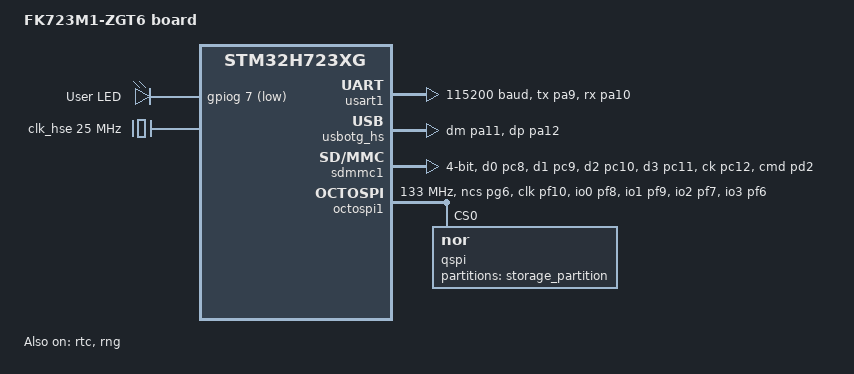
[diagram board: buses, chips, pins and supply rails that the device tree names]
/*
 * Copyright (c) 2020 Alexander Kozhinov <ak.alexander.kozhinov@gmail.com>
 * Copyright (c) 2024 zack jiang <1125934312@qq.com>
 * Copyright (c) 2025 Paul Wedeck <paulwedeck@gmail.com>
 * SPDX-License-Identifier: Apache-2.0
 */

/dts-v1/;
#include <st/h7/stm32h723Xg.dtsi>
#include <st/h7/stm32h723zgtx-pinctrl.dtsi>

/ {
	model = "FK723M1-ZGT6 board";
	compatible = "fanke,fk723m1-zgt6";

	chosen {
		zephyr,console = &usart1;
		zephyr,shell-uart = &usart1;
		zephyr,dtcm = &dtcm;
		zephyr,sram = &sram0;
		zephyr,flash = &flash0;
		zephyr,canbus = &fdcan1;
	};

	leds: leds {
		compatible = "gpio-leds";

		blue_led: led_0 {
			gpios = <&gpiog 7 GPIO_ACTIVE_LOW>;
			label = "User LED";
		};
	};

	aliases {
		led0 = &blue_led;
		sdhc0 = &sdmmc1;
		ext-nor0 = &qspi;
	};
};

&clk_lsi {
	status = "okay";
};

&clk_hsi {
	status = "okay";
};

&clk_hsi48 {
	status = "okay";
};

&clk_hse {
	clock-frequency = <DT_FREQ_M(25)>;
	status = "okay";
};

&clk_lse {
	status = "okay";
};

&pll {
	div-m = <2>;
	mul-n = <44>;
	div-p = <1>;
	div-q = <22>;
	div-r = <2>;
	clocks = <&clk_hse>;
	status = "okay";
};

&pll2 {
	div-m = <2>;
	mul-n = <32>;
	div-p = <5>;
	div-q = <5>;
	div-r = <5>;
	clocks = <&clk_hse>;
	status = "okay";
};

&rcc {
	clocks = <&pll>;
	clock-frequency = <DT_FREQ_M(550)>;
	d1cpre = <1>;
	hpre = <2>;    /* HCLK: 275   MHz */
	d1ppre = <2>;  /* APB1: 137.5 MHz */
	d2ppre1 = <2>; /* APB2: 137.5 MHz */
	d2ppre2 = <2>; /* APB3: 137.5 MHz */
	d3ppre = <2>;  /* APB4: 137.5 MHz */
};

&pwr {
	power-supply = "ldo";
};

&usart1 {
	pinctrl-0 = <&usart1_tx_pa9 &usart1_rx_pa10>;
	pinctrl-names = "default";
	current-speed = <115200>;
	status = "okay";
};

&rtc {
	clocks = <&rcc STM32_CLOCK_BUS_APB4 0x00010000>,
		 <&rcc STM32_SRC_LSI RTC_SEL(2)>;
	status = "okay";
};

&backup_sram {
	status = "okay";
};

zephyr_udc0: &usbotg_hs {
	pinctrl-0 = <&usb_otg_hs_dm_pa11 &usb_otg_hs_dp_pa12>;
	pinctrl-names = "default";
	status = "okay";
};

&rng {
	status = "okay";
};

&sdmmc1 {
	pinctrl-0 = <&sdmmc1_d0_pc8 &sdmmc1_d1_pc9 &sdmmc1_d2_pc10
		     &sdmmc1_d3_pc11 &sdmmc1_ck_pc12 &sdmmc1_cmd_pd2>;
	pinctrl-names = "default";
	clocks = <&rcc STM32_CLOCK(AHB3, 16)>,
		 <&rcc STM32_SRC_PLL1_Q SDMMC_SEL(0)>;
	disk-name = "SD";
	status = "okay";
	bus-width = <4>;
};

&octospi1 {
	compatible = "st,stm32-ospi-controller";
	clock-frequency = <DT_FREQ_M(133)>;
	op-mode = "MSPI_OP_MODE_CONTROLLER";
	pinctrl-0 = <&octospim_p1_ncs_pg6 &octospim_p1_clk_pf10
		     &octospim_p1_io0_pf8 &octospim_p1_io1_pf9
		     &octospim_p1_io2_pf7 &octospim_p1_io3_pf6>;
	pinctrl-names = "default";
	status = "okay";

	/* Winbond external flash */
	qspi: qspi-nor-flash@0 {
		compatible = "jedec,nor";
		reg = <0>;
		size = <DT_SIZE_M(64)>; /* 64 Mbits */
		jedec-id = [ef 40 17];
		sfdp-bfp = [e5 20 f9 ff ff ff ff 03
			    44 eb 08 6b 08 3b 42 bb
			    fe ff ff ff ff ff 00 00
			    ff ff 40 eb 0c 20 0f 52
			    10 d8 00 00 36 02 a6 00
			    82 ea 14 c4 e9 63 76 33
			    7a 75 7a 75 f7 a2 d5 5c
			    19 f7 4d ff e9 30 f8 80];
		mspi-max-frequency = <DT_FREQ_M(133)>;
		mspi-io-mode = "MSPI_IO_MODE_QUAD_1_1_4";
		mspi-data-rate = "MSPI_DATA_RATE_SINGLE";
		mspi-hardware-ce-num = <0>;
		status = "okay";

		partitions {
			compatible = "fixed-partitions";
			#address-cells = <1>;
			#size-cells = <1>;

			storage_partition: partition@0 {
				reg = <0x00000000 DT_SIZE_M(8)>; /* 64 Mbits */
			};
		};
	};
};
